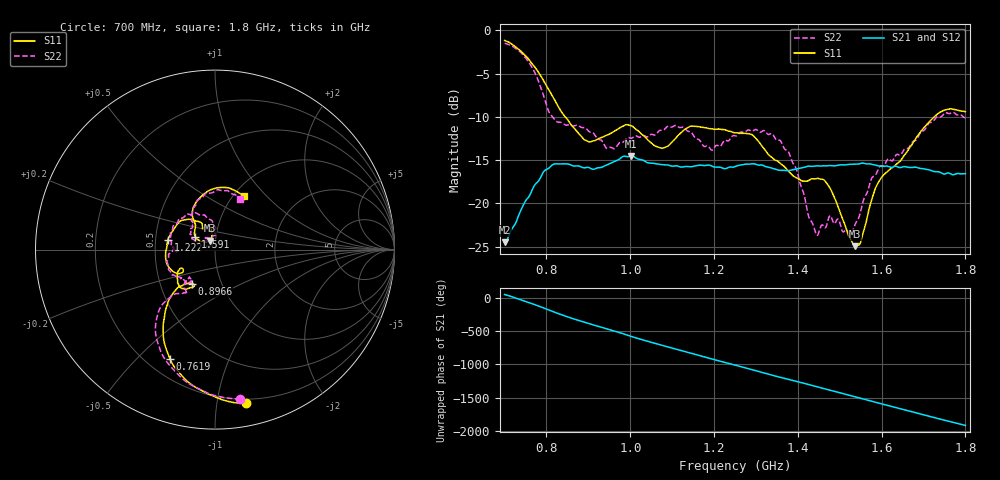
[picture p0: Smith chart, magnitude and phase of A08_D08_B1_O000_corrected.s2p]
! Created with skrf 1.9.0 (http://scikit-rf.org).
# Hz S RI R 50.0
!freq ReS11 ImS11 ReS21 ImS21 ReS12 ImS12 ReS22 ImS22
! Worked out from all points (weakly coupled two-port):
!   1601 points, 700 MHz to 1.8 GHz, reference 50 ohm
!   highest |S21| = -14.50 dB at 1.002 GHz (marker M1); lowest = -24.5 dB at 700.7 MHz (marker M2)
!   lowest |S11| = -24.9 dB at 1.537 GHz (marker M3), VSWR 1.12, Z = 47.2 + j4.78 ohm
!   |S11| at or under -10 dB: 844.9 MHz to 1.726 GHz (880.6 MHz wide, 68.5 % of centre)
!   |S22| runs from -23.7 to -1.5 dB; largest |S21 - S12| = 0.0036
!   S11 on the Smith chart (normalised r, x): 700 MHz: 0.17, -1.21; 761.9 MHz: 0.29, -0.63; 896.6 MHz: 0.72, -0.29; 1.222 GHz: 0.58, +0.07; 1.591 GHz: 0.79, +0.11; 1.8 GHz: 1.12, +0.75
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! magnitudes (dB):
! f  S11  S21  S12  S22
! 700 MHz  -1.2  -24.5  -24.2  -1.5
! 700.7 MHz  -1.2  -24.5  -24.2  -1.5
! 761.9 MHz  -3.6  -18.9  -18.8  -4.0
! 816.2 MHz  -7.8  -15.5  -15.6  -10.1
! 883.6 MHz  -12.3  -15.8  -15.7  -11.2
! 896.6 MHz  -12.8  -15.8  -15.9  -11.4
! 945.4 MHz  -12.1  -15.5  -15.5  -13.6
! 1.002 GHz  -11.0  -14.5  -14.6  -12.5
! 1.067 GHz  -13.5  -15.5  -15.4  -11.7
! 1.143 GHz  -11.1  -15.8  -15.7  -11.7
! 1.222 GHz  -11.4  -16.0  -16.0  -12.8
! 1.25 GHz  -11.8  -15.7  -15.7  -12.2
! 1.359 GHz  -15.4  -16.2  -16.1  -12.8
! 1.396 GHz  -17.0  -16.0  -16.0  -15.9
! 1.434 GHz  -17.2  -15.7  -15.7  -22.2
! 1.447 GHz  -17.1  -15.6  -15.7  -23.7
! 1.473 GHz  -18.0  -15.6  -15.6  -21.7
! 1.537 GHz  -24.9  -15.5  -15.5  -22.4
! 1.591 GHz  -17.7  -15.6  -15.6  -16.1
! 1.617 GHz  -16.2  -15.7  -15.7  -14.8
! 1.733 GHz  -9.7  -16.3  -16.4  -10.0
! 1.8 GHz  -9.4  -16.5  -16.5  -10.1
